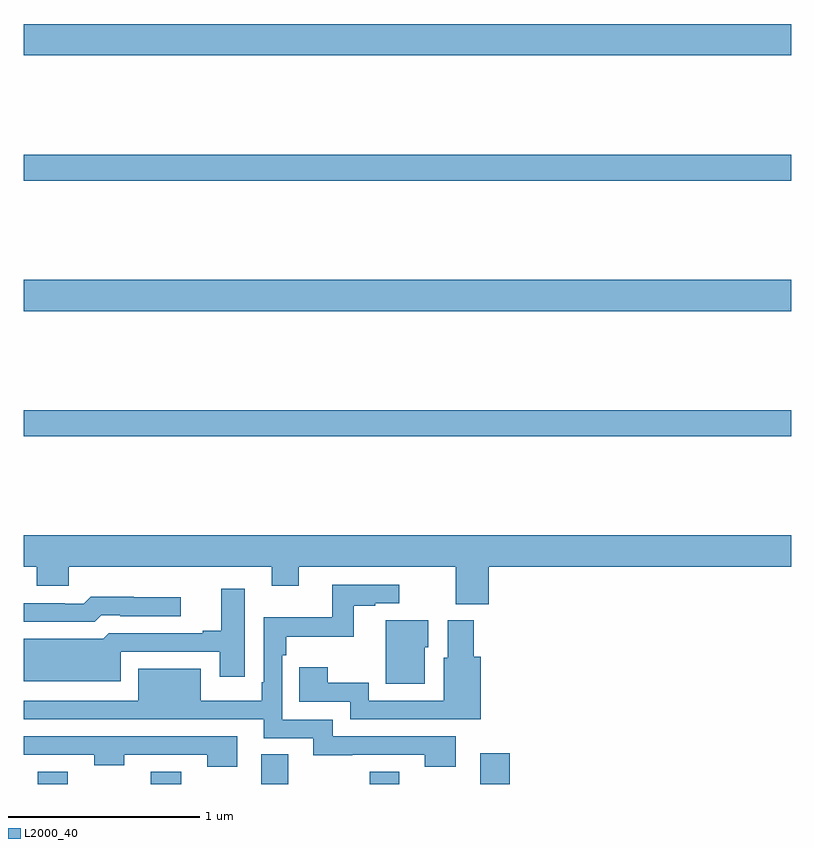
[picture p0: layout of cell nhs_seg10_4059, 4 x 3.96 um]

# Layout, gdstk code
import gdstk
lib = gdstk.Library(unit=1e-6, precision=1e-09)
def R(c, l, rs):  # rectangles x0, y0, x1, y1
    for r in rs: c.add(gdstk.rectangle(r[:2], r[2:], *l))
def P(c, l, *ps):  # polygons
    for p in ps: c.add(gdstk.Polygon(p, *l))
L2000_40 = (2000, 40)

nhs_seg10_4059 = lib.new_cell('nhs_seg10_4059')
R(nhs_seg10_4059, L2000_40, [(335.074,1316.5,335.229,1316.563), (335.662,1316.5,335.82,1316.563), (336.239,1316.5,336.379,1316.654), (336.802,1316.5,336.957,1316.563), (337.379,1316.5,337.532,1316.659), (335,1318.312,339,1318.448), (335,1318.964,339,1319.128), (335,1319.644,339,1319.78), (335,1320.296,339,1320.46)])
P(nhs_seg10_4059, L2000_40, [(337.424,1317.632),(339,1317.632),(339,1317.796),(335,1317.796),(335,1317.632),(335.069,1317.632),(335.069,1317.533),(335.234,1317.533),(335.234,1317.632),(336.293,1317.632),(336.293,1317.533),(336.433,1317.533),(336.433,1317.632),(337.252,1317.632),(337.252,1317.437),(337.424,1317.437)],
  [(337.252,1316.748),(336.61,1316.748),(336.61,1316.835),(336.348,1316.835),(336.348,1317.17),(336.368,1317.17),(336.368,1317.266),(336.721,1317.266),(336.721,1317.429),(336.831,1317.429),(336.831,1317.441),(336.958,1317.441),(336.958,1317.537),(336.608,1317.537),(336.608,1317.37),(336.252,1317.37),(336.252,1317.031),(336.24,1317.031),(336.24,1316.934),(335.923,1316.934),(335.923,1317.1),(335.597,1317.1),(335.597,1316.934),(335,1316.934),(335,1316.838),(336.251,1316.838),(336.251,1316.739),(336.509,1316.739),(336.509,1316.651),(336.713,1316.651),(336.713,1316.652),(337.091,1316.652),(337.091,1316.589),(337.252,1316.589)],
  [(335.505,1317.189),(336.023,1317.189),(336.023,1317.06),(336.151,1317.06),(336.151,1317.517),(336.029,1317.517),(336.029,1317.298),(335.933,1317.298),(335.933,1317.285),(335.444,1317.285),(335.415,1317.256),(335,1317.256),(335,1317.035),(335.505,1317.035)],
  [(335.403,1317.378),(335.503,1317.378),(335.503,1317.375),(335.818,1317.375),(335.818,1317.472),(335.574,1317.472),(335.574,1317.475),(335.35,1317.475),(335.313,1317.438),(335.213,1317.438),(335.213,1317.442),(335,1317.442),(335,1317.345),(335.37,1317.345)],
  [(337.09,1317.213),(337.108,1317.213),(337.108,1317.352),(336.887,1317.352),(336.887,1317.023),(337.09,1317.023)],
  [(337.381,1317.163),(337.346,1317.163),(337.346,1317.352),(337.211,1317.352),(337.211,1317.159),(337.19,1317.159),(337.19,1316.934),(336.798,1316.934),(336.798,1317.027),(336.585,1317.027),(336.585,1317.109),(336.437,1317.109),(336.437,1316.928),(336.702,1316.928),(336.702,1316.838),(337.381,1316.838)],
  [(336.112,1316.748),(335,1316.748),(335,1316.652),(335.368,1316.652),(335.368,1316.597),(335.523,1316.597),(335.523,1316.652),(335.956,1316.652),(335.956,1316.589),(336.112,1316.589)])

lib.write_gds('nhs_seg10_4059.gds')
